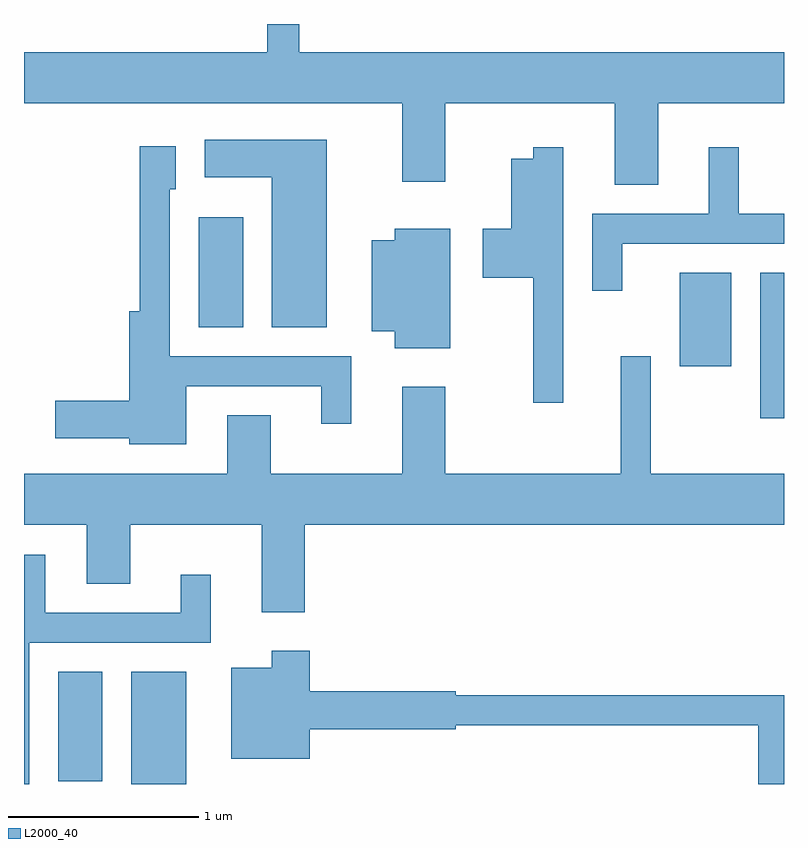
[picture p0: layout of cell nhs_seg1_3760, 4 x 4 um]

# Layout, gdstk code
import gdstk
lib = gdstk.Library(unit=1e-6, precision=1e-09)
def R(c, l, rs):  # rectangles x0, y0, x1, y1
    for r in rs: c.add(gdstk.rectangle(r[:2], r[2:], *l))
def P(c, l, *ps):  # polygons
    for p in ps: c.add(gdstk.Polygon(p, *l))
L2000_40 = (2000, 40)

nhs_seg1_3760 = lib.new_cell('nhs_seg1_3760')
R(nhs_seg1_3760, L2000_40, [(298.176,953.712,298.464,954.304), (297.791,953.726,298.024,954.304), (301.486,955.636,301.611,956.404), (301.061,955.911,301.334,956.404), (298.531,956.116,298.764,956.694)])
P(nhs_seg1_3760, L2000_40, [(300.949,957.296),(301.611,957.296),(301.611,957.564),(299.059,957.564),(299.059,957.712),(298.891,957.712),(298.891,957.564),(297.611,957.564),(297.611,957.296),(299.601,957.296),(299.601,956.881),(299.829,956.881),(299.829,957.296),(300.721,957.296),(300.721,956.866),(300.949,956.866)],
  [(299.204,957.104),(298.561,957.104),(298.561,956.906),(298.916,956.906),(298.916,956.116),(299.204,956.116)],
  [(298.464,955.806),(299.176,955.806),(299.176,955.608),(299.334,955.608),(299.334,955.964),(298.379,955.964),(298.379,956.841),(298.409,956.841),(298.409,957.069),(298.221,957.069),(298.221,956.199),(298.166,956.199),(298.166,955.729),(297.776,955.729),(297.776,955.531),(298.166,955.531),(298.166,955.501),(298.464,955.501)],
  [(300.449,957.063),(300.291,957.063),(300.291,957.004),(300.176,957.004),(300.176,956.634),(300.026,956.634),(300.026,956.376),(300.291,956.376),(300.291,955.718),(300.449,955.718)],
  [(300.759,956.556),(301.611,956.556),(301.611,956.714),(301.374,956.714),(301.374,957.063),(301.216,957.063),(301.216,956.714),(300.601,956.714),(300.601,956.308),(300.759,956.308)],
  [(299.854,956.634),(299.561,956.634),(299.561,956.574),(299.441,956.574),(299.441,956.096),(299.561,956.096),(299.561,956.006),(299.854,956.006)],
  [(299.089,955.076),(301.611,955.076),(301.611,955.344),(300.909,955.344),(300.909,955.963),(300.751,955.963),(300.751,955.344),(299.829,955.344),(299.829,955.804),(299.601,955.804),(299.601,955.344),(298.909,955.344),(298.909,955.654),(298.681,955.654),(298.681,955.344),(297.611,955.344),(297.611,955.076),(297.941,955.076),(297.941,954.766),(298.169,954.766),(298.169,955.076),(298.861,955.076),(298.861,954.616),(299.089,954.616)],
  [(297.639,954.456),(298.594,954.456),(298.594,954.813),(298.436,954.813),(298.436,954.614),(297.724,954.614),(297.724,954.919),(297.611,954.919),(297.611,953.712),(297.639,953.712)],
  [(301.611,954.179),(299.884,954.179),(299.884,954.199),(299.114,954.199),(299.114,954.414),(298.916,954.414),(298.916,954.324),(298.701,954.324),(298.701,953.846),(299.114,953.846),(299.114,954.001),(299.884,954.001),(299.884,954.021),(301.476,954.021),(301.476,953.712),(301.611,953.712)])

lib.write_gds('nhs_seg1_3760.gds')
